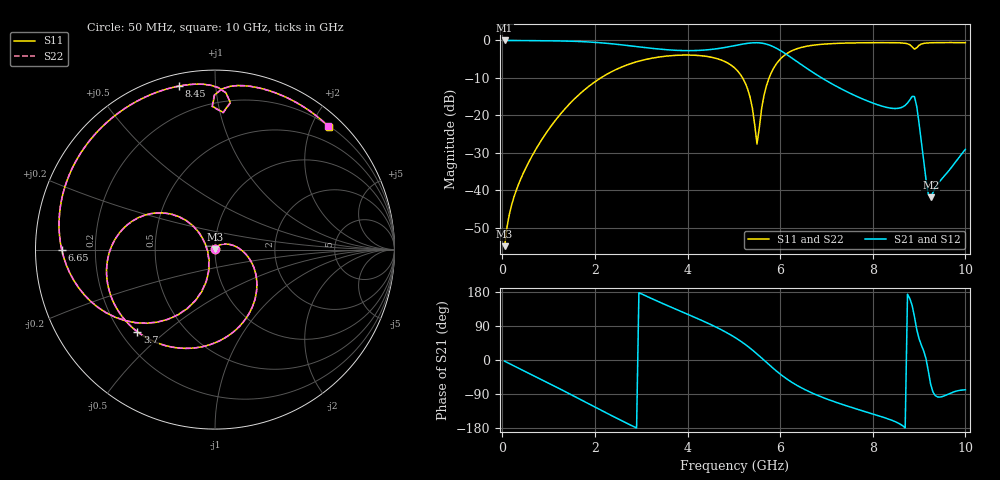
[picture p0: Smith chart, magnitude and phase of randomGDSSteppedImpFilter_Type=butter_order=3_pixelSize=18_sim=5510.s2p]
! freq	dB(S11)	phase(S11)	dB(S12)	phase(S12)
!  dB(S21)	phase(S21)	dB(S22)	phase(S22)
!S-par simulation data
#  GHz  S  DB  R 50
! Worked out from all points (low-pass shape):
!   200 points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, 50 MHz to 10 GHz, reference 50 ohm
!   highest |S21| = 0.00 dB at 50 MHz (marker M1); lowest = -41.8 dB at 9.25 GHz (marker M2)
!   |S21| within 3 dB of the highest: start of sweep to 6.047 GHz
!   lowest |S11| = -54.9 dB at 50 MHz (marker M3), VSWR 1.00, Z = 50.1 + j0.168 ohm
!   |S11| at or under -10 dB: start of sweep to 2.127 GHz; 5.188 GHz to 5.762 GHz (573.8 MHz wide, 10.5 % of centre)
!   |S22| runs from -54.9 to -0.6 dB; largest |S21 - S12| = 0
!   S11 on the Smith chart (normalised r, x): 50 MHz: 1.00, +0.00; 3.7 GHz: 0.27, -0.40; 6.65 GHz: 0.08, -0.00; 8.45 GHz: 0.06, +0.80; 10 GHz: 0.21, +2.27
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0.05  -54.93 69.8  -0.00 -3.1  -0.00 -3.1  -54.93 69.8
0.2  -44.00 72.3  -0.02 -12.2  -0.02 -12.2  -44.00 72.4
0.55  -32.99 55.6  -0.05 -33.5  -0.05 -33.5  -32.99 55.8
1.2  -20.50 16.3  -0.13 -73.5  -0.13 -73.5  -20.50 16.5
1.75  -13.45 -18.6  -0.33 -108.2  -0.33 -108.2  -13.45 -18.4
2.55  -7.25 -69.0  -1.13 -158.5  -1.13 -158.5  -7.25 -68.9
3.4  -4.40 -117.7  -2.32 152.5  -2.32 152.5  -4.40 -117.6
3.7  -4.02 -133.5  -2.60 136.5  -2.60 136.5  -4.02 -133.4
4.45  -4.34 -172.6  -2.48 96.5  -2.48 96.5  -4.34 -172.5
5.05  -7.74 150.7  -1.31 57.5  -1.31 57.5  -7.74 150.9
5.35  -15.13 132.5  -0.69 31.3  -0.69 31.3  -15.11 133.0
5.5  -27.66 -173.7  -0.61 16.1  -0.61 16.1  -27.36 -173.3
5.65  -14.75 -105.2  -0.82 -0.2  -0.82 -0.2  -14.74 -105.6
5.85  -7.61 -119.4  -1.66 -21.9  -1.66 -21.9  -7.60 -119.6
6.65  -1.38 -179.7  -8.07 -84.9  -8.07 -84.9  -1.38 -179.8
6.7  -1.29 177.5  -8.47 -87.6  -8.47 -87.6  -1.29 177.5
8.35  -0.59 106.6  -18.00 -156.2  -18.00 -156.2  -0.59 106.6
8.45  -0.60 102.6  -18.16 -160.9  -18.16 -160.9  -0.60 102.6
8.9  -2.32 86.6  -14.99 114.0  -14.99 114.0  -2.34 86.6
9.2  -0.65 79.8  -41.15 -29.4  -41.15 -29.4  -0.65 79.8
9.25  -0.62 77.5  -41.85 -64.3  -41.85 -64.3  -0.62 77.6
10  -0.60 47.3  -29.07 -78.6  -29.07 -78.6  -0.60 47.4
